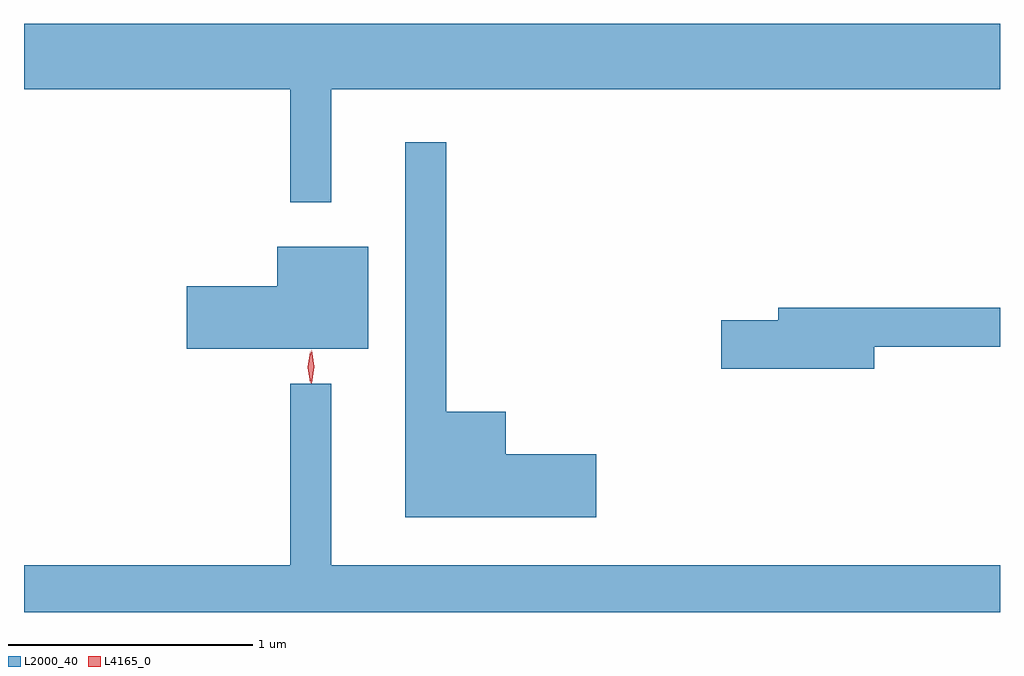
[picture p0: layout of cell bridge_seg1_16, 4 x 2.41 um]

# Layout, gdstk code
import gdstk
lib = gdstk.Library(unit=1e-6, precision=1e-09)
def P(c, l, *ps):  # polygons
    for p in ps: c.add(gdstk.Polygon(p, *l))
L2000_40 = (2000, 40)
L4165_0 = (4165, 0)

bridge_seg1_16 = lib.new_cell('bridge_seg1_16')
P(bridge_seg1_16, L2000_40, [(1615.969,841.856),(1618.709,841.856),(1618.709,842.124),(1614.709,842.124),(1614.709,841.856),(1615.801,841.856),(1615.801,841.393),(1615.969,841.393)],
  [(1617.054,840.359),(1616.684,840.359),(1616.684,840.534),(1616.439,840.534),(1616.439,841.638),(1616.271,841.638),(1616.271,840.101),(1617.054,840.101)],
  [(1616.119,841.209),(1615.746,841.209),(1615.746,841.049),(1615.376,841.049),(1615.376,840.791),(1616.119,840.791)],
  [(1618.194,840.801),(1618.709,840.801),(1618.709,840.959),(1617.801,840.959),(1617.801,840.909),(1617.566,840.909),(1617.566,840.711),(1618.194,840.711)],
  [(1618.709,839.904),(1615.969,839.904),(1615.969,840.648),(1615.801,840.648),(1615.801,839.904),(1614.709,839.904),(1614.709,839.712),(1618.709,839.712)])
P(bridge_seg1_16, L4165_0, [(1615.887,840.65),(1615.887,840.65),(1615.878,840.718),(1615.888,840.786),(1615.889,840.786),(1615.889,840.786),(1615.898,840.718),(1615.888,840.65)],
  [(1615.882,840.653),(1615.882,840.653),(1615.872,840.716),(1615.882,840.779),(1615.882,840.78),(1615.883,840.779),(1615.892,840.716),(1615.883,840.653)])

lib.write_gds('bridge_seg1_16.gds')
